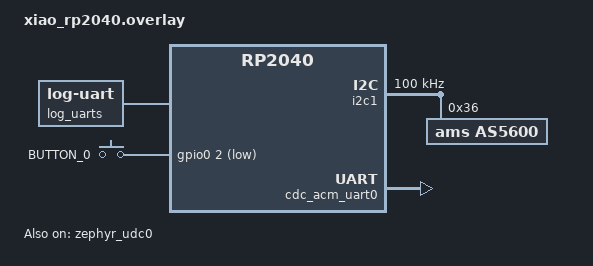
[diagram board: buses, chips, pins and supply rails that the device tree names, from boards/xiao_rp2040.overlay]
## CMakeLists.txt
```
#-------------------------------------------------------------------------------
# Zephyr Example Application
#
# Copyright (c) 2026 not-na
# Copyright (c) 2021 Nordic Semiconductor ASA
# SPDX-License-Identifier: Apache-2.0

cmake_minimum_required(VERSION 3.13.1)
find_package(Zephyr REQUIRED HINTS $ENV{ZEPHYR_BASE})

project(app LANGUAGES C)

target_sources(app PRIVATE src/main.c src/hid.c src/usb.c src/encoder.c)
```

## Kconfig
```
# Copyright (c) 2026 not-na
# Copyright (c) 2021 Nordic Semiconductor ASA
# SPDX-License-Identifier: Apache-2.0
#
# This file is the application Kconfig entry point. All application Kconfig
# options can be defined here or included via other application Kconfig files.
# You can browse these options using the west targets menuconfig (terminal) or
# guiconfig (GUI).

menu "Zephyr"
source "Kconfig.zephyr"
endmenu

module = APP
module-str = APP
source "subsys/logging/Kconfig.template.log_config"


menu "Main application configuration"

config MAGWHEEL_CDC
    bool "Enable CDC ACM debug UART"
    default y
    depends on USB_DEVICE_STACK_NEXT
    select SERIAL
    select USBD_CDC_ACM_CLASS
    select UART_CONSOLE
    select LOG_BACKEND_UART
    select UART_LINE_CTRL
    help
        Enable the USB CDC ACM virtual UART used for the console, shell,
        and UART logging backend.

config USB_VID
    hex "USB Vendor ID"
    default 0x1209
    help
        USB Vendor ID for the device.

config USB_PID
    hex "USB Product ID"
    default 0x0001
    help
        USB Product ID for the device.

config USB_MANUFACTURER
    string "USB Manufacturer"
    default "not-na"
    help
        USB Manufacturer string for the device.

config USB_PRODUCT
    string "USB Product"
    default "MagWheel"
    help
        USB Product string for the device.

config MAGWHEEL_DEADZONE_DEFAULT
    int "MagWheel Deadzone Default"
    default 4
    help
        Default in LSBs for the encoder to prevent jitter when idle.

config MAGWHEEL_STEPS_PER_REV
    int "MagWheel Steps Per Revolution"
    default 3600
    help
        Number of steps per revolution for the encoder.

config MAGWHEEL_HID_RESOLUTION
    int "MagWheel HID Resolution"
    default 60
    help
        Resolution of the HID reports in steps per revolution.

menuconfig MAGWHEEL_SPEEDSCALING
    bool "Enable MagWheel speed-dependent scaling"
    depends on TIMER_HAS_64BIT_CYCLE_COUNTER
    select REQUIRES_FLOAT_PRINTF
    default y
    help
        Enable speed scaling for the MagWheel.

        The highest speed is determined by the normal config.

        Scaling is implemented by adding a multiplier to the steps at high speeds,
        reporting a lower HID resolution normally.

if MAGWHEEL_SPEEDSCALING

config MAGWHEEL_SPEEDSCALING_FACTOR
    int "Factor from highest to lowest speed"
    default 5
    help
        Increases the speed by this factor at high speeds.

config MAGWHEEL_SPEEDSCALING_THRESHOLD_LOW
    int "Low Speed threshold for scaling"
    default 1500
    help
        The speed threshold in steps per second below which to apply the low speed scaling.

config MAGWHEEL_SPEEDSCALING_THRESHOLD_HIGH
    int "High Speed threshold for scaling"
    default 6000
    help
        The speed threshold in steps per second above which to apply the maximum speed.

config MAGWHEEL_SPEEDSCALING_SMOOTHING
    int "Averaging duration for speed measurement in samples"
    default 10
    help
        Speed for scaling is measured as the average speed over this duration. A sample
        is usually taken every 5ms.

endif # MAGWHEEL_SPEEDSCALING

endmenu
```

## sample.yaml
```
# This file is provided so that the application can be compiled using Twister,
# the Zephyr testing tool. In this file, multiple combinations can be specified,
# so that you can easily test all of them locally or in CI.
sample:
  description: "MagWheel"
  name: "magwheel"
common:
  build_only: true
  integration_platforms:
    - nrf52840dongle
tests:
  app.default: {}
  app.debug:
    extra_overlay_confs:
      - debug.conf
```

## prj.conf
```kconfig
# Copyright (c) 2026 not-na
# Copyright (c) 2021 Nordic Semiconductor ASA
# SPDX-License-Identifier: Apache-2.0
#
# This file contains selected Kconfig options for the application.
# See https://docs.zephyrproject.org/latest/kconfig.html for all possible options.

CONFIG_MAGWHEEL_DEADZONE_DEFAULT=2
CONFIG_MAGWHEEL_STEPS_PER_REV=3960
CONFIG_MAGWHEEL_HID_RESOLUTION=80
CONFIG_MAGWHEEL_SPEEDSCALING_FACTOR=12

# Shell & Logging
CONFIG_PRINTK=y
CONFIG_SHELL=y
CONFIG_LOG=y
CONFIG_KERNEL_SHELL=y
CONFIG_DEVICE_SHELL=y
CONFIG_SENSOR_SHELL=y
CONFIG_I2C_SHELL=y

# USB
CONFIG_USB_DEVICE_STACK_NEXT=y
CONFIG_USBD_HID_SUPPORT=y
CONFIG_MAGWHEEL_CDC=y
CONFIG_SERIAL=y
CONFIG_CONSOLE=y
CONFIG_UART_CONSOLE=y
CONFIG_LOG_BACKEND_UART=y
CONFIG_UART_LINE_CTRL=y
CONFIG_USB_VID=0x1209
# Change PID once we have one from pid.codes
CONFIG_USB_PID=0x0001
CONFIG_USB_MANUFACTURER="not-na"
CONFIG_USB_PRODUCT="MagWheel"

# Button Input
CONFIG_GPIO=y
CONFIG_INPUT=y

# Sensor
CONFIG_I2C=y
CONFIG_SENSOR=y
CONFIG_SENSOR_ASYNC_API=y

# Misc
CONFIG_RESET=y
CONFIG_BUILD_OUTPUT_UF2=y

# LED
CONFIG_LED_STRIP=y
CONFIG_PIO_RPI_PICO=y
```

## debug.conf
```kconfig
# Copyright (c) 2026 not-na
# Copyright (c) 2021 Nordic Semiconductor ASA
# SPDX-License-Identifier: Apache-2.0
#
# This is a Kconfig fragment which can be used to enable debug-related options
# in the application. See the README for more details.

# Compiler
CONFIG_DEBUG_OPTIMIZATIONS=y

# Logging
CONFIG_APP_LOG_LEVEL_DBG=y
```

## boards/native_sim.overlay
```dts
/*
 * Copyright (c) 2026 not-na
 * Copyright (c) 2021 Nordic Semiconductor ASA
 * SPDX-License-Identifier: Apache-2.0
 */

/* This devicetree overlay file will be automatically picked by the Zephyr
 * build system when building the sample for the nucleo_f302r8 board. It shows
 * how the example-application can be built on sample boards already provided
 * by Zephyr.
 */

/ {
	// TODO
};
```

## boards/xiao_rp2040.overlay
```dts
/*
 * Copyright (c) 2026 not-na
 * SPDX-License-Identifier: Apache-2.0
 */

#include <zephyr/dt-bindings/pinctrl/rpi-pico-rp2040-pinctrl.h>
#include <zephyr/dt-bindings/input/input-event-codes.h>

/ {
    aliases {
        encoder = &as5600;
        sw0 = &button_0;
        led-strip = &ws2812;
    };

    chosen {
        zephyr,console = &cdc_acm_uart0;
        zephyr,shell-uart = &cdc_acm_uart0;
        zephyr,log-uart = &log_uarts;
    };

    log_uarts: log_uarts {
        compatible = "zephyr,log-uart";
        uarts = <&cdc_acm_uart0>;
    };

    gpio_keys {
        compatible = "gpio-keys";
        status = "okay";

        button_0: button_0 {
            gpios = <&gpio0 2 (GPIO_PULL_UP | GPIO_ACTIVE_LOW)>;
            label = "BUTTON_0";
            zephyr,code = <INPUT_KEY_0>;
        };
    };
};

&i2c1 {
    status = "okay";
    clock-frequency = <I2C_BITRATE_STANDARD>;
    pinctrl-0 = <&i2c1_default>;
    pinctrl-names = "default";

    as5600: as5600@36 {
        compatible = "ams,as5600";
        status = "okay";
        reg = <0x36>;
    };
};

&pio0 {
    status = "okay";

    pio-ws2812 {
        compatible = "worldsemi,ws2812-rpi_pico-pio";
        status = "okay";
        pinctrl-0 = <&ws2812_pio0_default>;
        pinctrl-names = "default";
        bit-waveform = <3>, <3>, <4>;

        ws2812: ws2812 {
            status = "okay";
            gpios = <&gpio0 16 GPIO_ACTIVE_HIGH>;
            chain-length = <1>;
            color-mapping = <LED_COLOR_ID_GREEN
                             LED_COLOR_ID_RED
                             LED_COLOR_ID_BLUE>;
            reset-delay = <280>;
            frequency = <800000>;
        };
    };
};

&zephyr_udc0 {
    status = "okay";

    cdc_acm_uart0: cdc_acm_uart0 {
        compatible = "zephyr,cdc-acm-uart";
        label = "CDC_ACM_0";
    };

    hid_dev_0: hid_dev_0 {
        compatible = "zephyr,hid-device";
        status = "okay";
        label = "HID0";
        in-report-size = <64>;
        in-polling-period-us = <1000>;
    };
};
```

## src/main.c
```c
/*
 * Copyright (c) 2026 not-na
 * Copyright (c) 2021 Nordic Semiconductor ASA
 * SPDX-License-Identifier: Apache-2.0
 */

#include <math.h>
#include <zephyr/kernel.h>
#include <zephyr/logging/log.h>

#include <zephyr/drivers/led_strip.h>
#include <zephyr/drivers/sensor.h>

#include "hid.h"
#include "usb.h"

LOG_MODULE_REGISTER(main, CONFIG_APP_LOG_LEVEL);

#if DT_NODE_HAS_PROP(DT_ALIAS(led_strip), chain_length)
#define STRIP_NUM_PIXELS DT_PROP(DT_ALIAS(led_strip), chain_length)
#else
#error Unable to determine length of LED strip
#endif

static const struct device *led_strip = DEVICE_DT_GET(DT_ALIAS(led_strip));
static const struct device *encoder = DEVICE_DT_GET_ONE(ams_as5600);

static int last_position = 0;

static struct led_rgb ok_led = {.r = 0x00, .g = 0xFF, .b = 0x00};


int main(void)
{
	int ret;

	LOG_INF("MagWheel starting up");

	hid_device_init();
	usb_device_init();

	if (!device_is_ready(encoder)) {
		LOG_ERR("AS5600 not ready");
		return -EIO;
	}

	if (!device_is_ready(led_strip)) {
		LOG_ERR("LED strip not ready");
		return -EIO;
	}

	led_strip_update_rgb(led_strip, &ok_led, STRIP_NUM_PIXELS);

	struct sensor_value val;
#ifdef CONFIG_MAGWHEEL_SPEEDSCALING
	int last_delta[CONFIG_MAGWHEEL_SPEEDSCALING_SMOOTHING] = {0};
	uint64_t last_sample_time[CONFIG_MAGWHEEL_SPEEDSCALING_SMOOTHING] = {0};
#endif

	LOG_INF("Booted!");
	k_msleep(1000);

	while (true) {
		if (!get_hid_ready()) {
			LOG_INF("Waiting for HID to be ready...");
			continue;
		}

		ret = sensor_sample_fetch(encoder);
		if (ret != 0) {
			LOG_ERR("Failed to fetch sensor sample");
			continue;
		}

#ifdef CONFIG_MAGWHEEL_SPEEDSCALING
		uint64_t sample_time = k_cycle_get_64();
#endif

		ret = sensor_channel_get(encoder, SENSOR_CHAN_ROTATION, &val);
		if (ret != 0) {
			LOG_ERR("Failed to get sensor channel rotation");
			continue;
		}

		int rot = (val.val1 * 1000000 + val.val2) / (360 * 1000000 / CONFIG_MAGWHEEL_STEPS_PER_REV);

		LOG_INF_RATELIMIT_RATE(1000, "Rotation %d", rot);

		if (last_position == 0) {
			last_position = rot;
		}

		// How much backwards rotation would it take to get to the new position?
		int delta_rev = 0;
		if (rot > last_position) {
			delta_rev = rot - last_position - CONFIG_MAGWHEEL_STEPS_PER_REV;
		} else if (rot < last_position) {
			delta_rev = CONFIG_MAGWHEEL_STEPS_PER_REV - last_position + rot;
		}

		// How much forwards rotation would it take to get to the new position?
		int delta_fwd = rot - last_position;

		// Use the most likely candidate, whichever is smaller
		int delta = abs(delta_rev) > abs(delta_fwd) ? delta_fwd : delta_rev;

		if (abs(delta) <= CONFIG_MAGWHEEL_DEADZONE_DEFAULT) {
			continue;
		}

#ifdef CONFIG_MAGWHEEL_SPEEDSCALING
		// Calculate the speed since the oldest sample in the smoothing window
		uint64_t time_diff = sample_time - last_sample_time[CONFIG_MAGWHEEL_SPEEDSCALING_SMOOTHING - 1];
		int oldest_delta = 0;
		for (int i = 0; i < CONFIG_MAGWHEEL_SPEEDSCALING_SMOOTHING; i++) {
			oldest_delta += last_delta[i];
		}
		float speed = fabsf((float)oldest_delta / (k_cyc_to_ms_near32(time_diff)/1000.0f)); // steps per second

		// Update the delta and sample time arrays
		for (int i = CONFIG_MAGWHEEL_SPEEDSCALING_SMOOTHING - 1; i > 0; i--) {
			last_delta[i] = last_delta[i - 1];
			last_sample_time[i] = last_sample_time[i - 1];
		}
		last_delta[0] = delta;
		last_sample_time[0] = sample_time;

		// Apply speed scaling
		if (speed > CONFIG_MAGWHEEL_SPEEDSCALING_THRESHOLD_HIGH) {
			delta *= CONFIG_MAGWHEEL_SPEEDSCALING_FACTOR;
		} else if (speed > CONFIG_MAGWHEEL_SPEEDSCALING_THRESHOLD_LOW) {
			// Interpolate between 1 and the scaling factor based on speed
			float t = ((speed-CONFIG_MAGWHEEL_SPEEDSCALING_THRESHOLD_LOW) / (CONFIG_MAGWHEEL_SPEEDSCALING_THRESHOLD_HIGH - CONFIG_MAGWHEEL_SPEEDSCALING_THRESHOLD_LOW));
			t = t*t; // Quad easing
			float scale = t
						* (CONFIG_MAGWHEEL_SPEEDSCALING_FACTOR - 1) + 1;
			delta *= scale;
			LOG_INF_RATELIMIT_RATE(1000, "Speed %d steps/s, scale %d (/10)", (int)speed, (int)(scale*10));
		}

		LOG_INF_RATELIMIT_RATE(1000, "Delta %d, speed %d steps/s", delta, (int)speed);
#else
		LOG_INF_RATELIMIT_RATE(1000, "Delta %d", delta);
#endif

		hid_device_send_wheel_report(delta);

		// Only update last pos if we sent a report
		last_position = rot;

		k_msleep(1);
	}

	return 0;
}
```

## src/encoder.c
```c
//
// Created by notna on 02.11.26.
//

#include "encoder.h"
```

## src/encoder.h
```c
//
// Created by notna on 02.11.26.
//

#ifndef APP_ENCODER_H
#define APP_ENCODER_H

#endif //APP_ENCODER_H
```

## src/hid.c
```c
#include "hid.h"

#include <zephyr/logging/log.h>
#include <zephyr/usb/class/usbd_hid.h>
#include <zephyr/usb/usbd.h>

LOG_MODULE_REGISTER(hid);

UDC_STATIC_BUF_DEFINE(wheel_report_buf, sizeof(wheel_report_t));
UDC_STATIC_BUF_DEFINE(dial_report_buf, sizeof(dial_report_t));

static const struct device *hid_dev = DEVICE_DT_GET_ONE(zephyr_hid_device);

static feature_report_t mult_state = {
    .report_id = REPORT_ID_MULTIPLIER, .wheel = 0, .ac_pan = 0, .reserved = 0};

static bool hid_ready = false;

static void iface_ready(const struct device *dev, const bool ready) {
  LOG_INF("HID device %s interface is %s", dev->name,
          ready ? "ready" : "not ready");
  hid_ready = ready;
}

static int get_report(const struct device *dev, const uint8_t type,
                      const uint8_t id, const uint16_t len,
                      uint8_t *const buf) {
  if (type != HID_REPORT_TYPE_FEATURE) {
    LOG_WRN("Unsupported report type");
    return -ENOTSUP;
  }

  if (id != REPORT_ID_MULTIPLIER) {
    LOG_WRN("Unsupported report id");
    return -ENOTSUP;
  }

  memcpy(buf, &mult_state, sizeof(mult_state));

  return sizeof(mult_state);
}

static int verify_set_report(const struct device *dev, const uint8_t type,
                             const uint8_t id, const uint16_t len) {
  if (type != HID_REPORT_TYPE_FEATURE) {
    LOG_WRN("Unsupported report type");
    return -ENOTSUP;
  }

  if (id != REPORT_ID_MULTIPLIER) {
    LOG_WRN("Unsupported report id");
    return -ENOTSUP;
  }

  return 0;
}

static int set_report(const struct device *dev, const uint8_t type,
                      const uint8_t id, const uint16_t len,
                      const uint8_t *const buf) {

  if (type != HID_REPORT_TYPE_FEATURE) {
    LOG_WRN("Unsupported report type");
    return -ENOTSUP;
  }

  if (id != REPORT_ID_MULTIPLIER) {
    LOG_WRN("Unsupported report id");
    return -ENOTSUP;
  }

  memcpy(&mult_state, buf, sizeof(mult_state));
  mult_state.report_id = REPORT_ID_MULTIPLIER;
  mult_state.reserved = 0;

  return 0;
}

void hid_set_idle(const struct device *dev, const uint8_t id, const uint32_t duration) {
  // TODO: does this need to be handled?
}

struct hid_device_ops device_ops = {
    .iface_ready = iface_ready,
    .get_report = get_report,
    .verify_set_report = verify_set_report,
    .set_report = set_report,
    .set_idle = hid_set_idle,
};

int hid_device_init(void) {
  if (!device_is_ready(hid_dev)) {
    LOG_ERR("HID Device is not ready");
    return -EIO;
  }

  int err = hid_device_register(hid_dev, hid_report_desc,
                                sizeof(hid_report_desc), &device_ops);
  if (err) {
    LOG_ERR("Failed to register HID Device, %d", err);
    return err;
  }

  return 0;
}

bool get_hid_ready(){
    return hid_ready;
}

int hid_device_send_wheel_report(int value) {
  wheel_report_t *report = (wheel_report_t *)wheel_report_buf;

  report->report_id = REPORT_ID_MOUSE;
  report->buttons = 0;
  report->x_axis = 0;
  report->y_axis = 0;
  report->wheel = value;
  report->ac_pan = 0;

  return hid_device_submit_report(hid_dev, sizeof(wheel_report_t),
                                  wheel_report_buf);
}

int hid_device_send_dial_report(int rotation, bool button_state) {
  dial_report_t *report = (dial_report_t *)dial_report_buf;

  report->report_id = REPORT_ID_DIAL;
  report->button = button_state & 0x01;
  report->rotation = rotation & 0x7FFF;

  return hid_device_submit_report(hid_dev, sizeof(dial_report_t),
                                  dial_report_buf);
}
```

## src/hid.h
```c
#pragma once

#include <stdint.h>
#include <stdbool.h>

#include "zephyr/kernel.h"

#define REPORT_ID_DIAL 0x01
#define REPORT_ID_MOUSE 0x02
#define REPORT_ID_MULTIPLIER 0x03

#define RESOLUTION_MULTIPLIER CONFIG_MAGWHEEL_HID_RESOLUTION

static const uint8_t hid_report_desc[] = {
    0x05, 0x01,                 // USAGE_PAGE (Generic Desktop)
    0x09, 0x0e,                 // USAGE (System Multi-Axis Controller)
    0xa1, 0x01,                 // COLLECTION (Application)
    0x85, REPORT_ID_DIAL,       //   REPORT_ID (Radial Controller)
    0x05, 0x0d,                 //   USAGE_PAGE (Digitizers)
    0x09, 0x21,                 //   USAGE (Puck)
    0xa1, 0x00,                 //   COLLECTION (Physical)
    0x05, 0x09,                 //     USAGE_PAGE (Buttons)
    0x09, 0x01,                 //     USAGE (Button 1)
    0x95, 0x01,                 //     REPORT_COUNT (1)
    0x75, 0x01,                 //     REPORT_SIZE (1)
    0x15, 0x00,                 //     LOGICAL_MINIMUM (0)
    0x25, 0x01,                 //     LOGICAL_MAXIMUM (1)
    0x81, 0x02,                 //     INPUT (Data,Var,Abs)
    0x05, 0x01,                 //     USAGE_PAGE (Generic Desktop)
    0x09, 0x37,                 //     USAGE (Dial)
    0x95, 0x01,                 //     REPORT_COUNT (1)
    0x75, 0x0f,                 //     REPORT_SIZE (15)
    0x55, 0x0f,                 //     UNIT_EXPONENT (-1)
    0x65, 0x14,                 //     UNIT (Degrees, English Rotation)
    0x36, 0xf0, 0xf1,           //     PHYSICAL_MINIMUM (-3600)
    0x46, 0x10, 0x0e,           //     PHYSICAL_MAXIMUM (3600)
    0x16, 0xf0, 0xf1,           //     LOGICAL_MINIMUM (-3600)
    0x26, 0x10, 0x0e,           //     LOGICAL_MAXIMUM (3600)
    0x81, 0x06,                 //     INPUT (Data,Var,Rel)
    0xc0,                       //   END_COLLECTION
    0xc0,                       // END_COLLECTION

    // Reset globals
    0x55, 0x00,                   // UNIT_EXPONENT (0)
    0x65, 0x00,                   // UNIT (None)
    0x35, 0x00,                   // PHYSICAL_MINIMUM (0)
    0x45, 0x00,                   // PHYSICAL_MAXIMUM (0)

    0x05, 0x01,                   // Usage Page (Generic Desktop Ctrls)
    0x09, 0x02,                   // Usage (Mouse)
    0xA1, 0x01,                   // Collection (Application)
    0x05, 0x01,                   //   Usage Page (Generic Desktop Ctrls)
    0x09, 0x02,                   //   Usage (Mouse)
    0xA1, 0x02,                   //   Collection (Logical)
    0x85, REPORT_ID_MOUSE,        //     Report ID (REPORT_ID_MOUSE)
    0x09, 0x01,                   //     Usage (Pointer)
    0xA1, 0x00,                   //     Collection (Physical)
    0x05, 0x09,                   //       Usage Page (Button)
    0x19, 0x01,                   //       Usage Minimum (0x01)
    0x29, 0x08,                   //       Usage Maximum (0x08)
    0x95, 0x08,                   //       Report Count (8)
    0x75, 0x01,                   //       Report Size (1)
    0x15, 0x00,                   //       Logical Minimum (0)
    0x25, 0x01,                   //       Logical Maximum (1)
    0x81, 0x02,                   //       Input (Data,Var,Abs,No Wrap,Linear,Preferred State,No Null Position)
    0x05, 0x01,                   //       Usage Page (Generic Desktop Ctrls)
    0x09, 0x30,                   //       Usage (X)
    0x09, 0x31,                   //       Usage (Y)
    0x95, 0x02,                   //       Report Count (2)
    0x75, 0x10,                   //       Report Size (16)
    0x16, 0x00, 0x80,             //       Logical Minimum (-32768)
    0x26, 0xFF, 0x7F,             //       Logical Maximum (32767)
    0x81, 0x06,                   //       Input (Data,Var,Rel,No Wrap,Linear,Preferred State,No Null Position)
    0xA1, 0x02,                   //       Collection (Logical)
    0x85, REPORT_ID_MULTIPLIER,   //         Report ID (REPORT_ID_MULTIPLIER)
    0x09, 0x48,                   //         Usage (Resolution Multiplier)
    0x95, 0x01,                   //         Report Count (1)
    0x75, 0x02,                   //         Report Size (2)
    0x15, 0x00,                   //         Logical Minimum (0)
    0x25, 0x01,                   //         Logical Maximum (1)
    0x35, 0x01,                   //         Physical Minimum (1)
    0x45, RESOLUTION_MULTIPLIER,  //         Physical Maximum (RESOLUTION_MULTIPLIER)
    0xB1, 0x02,                   //         Feature (Data,Var,Abs,No Wrap,Linear,Preferred State,No Null Position,Non-volatile)
    0x85, REPORT_ID_MOUSE,        //         Report ID (REPORT_ID_MOUSE)
    0x09, 0x38,                   //         Usage (Wheel)
    0x35, 0x00,                   //         Physical Minimum (0)
    0x45, 0x00,                   //         Physical Maximum (0)
    0x16, 0x00, 0x80,             //         Logical Minimum (-32768)
    0x26, 0xFF, 0x7F,             //         Logical Maximum (32767)
    0x75, 0x10,                   //         Report Size (16)
    0x81, 0x06,                   //         Input (Data,Var,Rel,No Wrap,Linear,Preferred State,No Null Position)
    0xC0,                         //       End Collection
    0xA1, 0x02,                   //       Collection (Logical)
    0x85, REPORT_ID_MULTIPLIER,   //         Report ID (REPORT_ID_MULTIPLIER)
    0x09, 0x48,                   //         Usage (Resolution Multiplier)
    0x75, 0x02,                   //         Report Size (2)
    0x15, 0x00,                   //         Logical Minimum (0)
    0x25, 0x01,                   //         Logical Maximum (1)
    0x35, 0x01,                   //         Physical Minimum (1)
    0x45, RESOLUTION_MULTIPLIER,  //         Physical Maximum (RESOLUTION_MULTIPLIER)
    0xB1, 0x02,                   //         Feature (Data,Var,Abs,No Wrap,Linear,Preferred State,No Null Position,Non-volatile)
    0x35, 0x00,                   //         Physical Minimum (0)
    0x45, 0x00,                   //         Physical Maximum (0)
    0x75, 0x04,                   //         Report Size (4)
    0xB1, 0x03,                   //         Feature (Const,Var,Abs,No Wrap,Linear,Preferred State,No Null Position,Non-volatile)
    0x85, REPORT_ID_MOUSE,        //         Report ID (REPORT_ID_MOUSE)
    0x05, 0x0C,                   //         Usage Page (Consumer)
    0x16, 0x00, 0x80,             //         Logical Minimum (-32768)
    0x26, 0xFF, 0x7F,             //         Logical Maximum (32767)
    0x75, 0x10,                   //         Report Size (16)
    0x0A, 0x38, 0x02,             //         Usage (AC Pan)
    0x81, 0x06,                   //         Input (Data,Var,Rel,No Wrap,Linear,Preferred State,No Null Position)
    0xC0,                         //       End Collection
    0xC0,                         //     End Collection
    0xC0,                         //   End Collection
    0xC0,                         // End Collection
};

typedef struct __attribute__((packed)) {
  uint8_t report_id : 8;
  uint16_t button : 1;
  int16_t rotation : 15;
} dial_report_t;

typedef struct __attribute__((packed)) {
  uint8_t report_id;
  uint8_t buttons;
  int16_t x_axis;
  int16_t y_axis;
  int16_t wheel;
  int16_t ac_pan;
} wheel_report_t;

typedef struct __attribute__((packed)) {
  uint8_t report_id : 8;
  uint8_t wheel : 2;
  uint8_t ac_pan : 2;
  uint8_t reserved : 4;
} feature_report_t;

int hid_device_init(void);
bool get_hid_ready(void);
int hid_device_send_wheel_report(int value);
int hid_device_send_dial_report(int rotation, bool button_state);
```

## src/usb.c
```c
#include "usb.h"
#include <zephyr/usb/usbd.h>

#include <zephyr/logging/log.h>
LOG_MODULE_REGISTER(usb_device);

USBD_DEVICE_DEFINE(usb_device,
                   DEVICE_DT_GET(DT_NODELABEL(zephyr_udc0)),
                   CONFIG_USB_VID, CONFIG_USB_PID);

// These fields are optional
USBD_DESC_LANG_DEFINE(language); // Will be set to English (United States)
USBD_DESC_MANUFACTURER_DEFINE(manufacturer, CONFIG_USB_MANUFACTURER);
USBD_DESC_PRODUCT_DEFINE(product, CONFIG_USB_PRODUCT);

// We need to define a configuration for each supported speed. For simplicity we will not do high speed. Only full speed.
static const uint8_t attributes = 0;

#define EXAMPLE_MAX_POWER 125 // In 2mA units so its 250mA
USBD_DESC_CONFIG_DEFINE(fs_cfg_desc, "Full Speed Configuration");
USBD_CONFIGURATION_DEFINE(example_fs_config, attributes, EXAMPLE_MAX_POWER, &fs_cfg_desc);

int usb_device_init(void) {
    int err;

    err = usbd_add_descriptor(&usb_device, &language);
    if (err) {
        LOG_ERR("Failed to add language descriptor %d", err);
        return err;
    }

    err = usbd_add_descriptor(&usb_device, &manufacturer);
    if (err) {
        LOG_ERR("Failed to add manufacturer descriptor %d", err);
        return err;
    }

    err = usbd_add_descriptor(&usb_device, &product);
    if (err) {
        LOG_ERR("Failed to add product descriptor %d", err);
        return err;
    }

    //
    // Adding configuration for full speed
    //
    err = usbd_add_configuration(&usb_device, USBD_SPEED_FS, &example_fs_config);
    if (err) {
        LOG_ERR("Failed to add Full-Speed configuration");
        return err;
    }

    err = usbd_register_all_classes(&usb_device, USBD_SPEED_FS, 1, NULL);
    if (err) {
        LOG_ERR("Failed to add register class");
        return err;
    }

    /*
     * The device descriptor has three fields for identifying device class
     * bDeviceClass, bDeviceSubClass, bDeviceProtocol
     *
     * If the device provides multiple USB functions (a composite device)
     * it should use the Miscellaneous Device Class to indicate that the host
     * should look at the interface descriptors to determine the device class.
     *
     * If it's a single-function device like HID, these fields can be set to 0
     */
    if (IS_ENABLED(CONFIG_USBD_CDC_ACM_CLASS) ||
        IS_ENABLED(CONFIG_USBD_CDC_ECM_CLASS) ||
        IS_ENABLED(CONFIG_USBD_CDC_NCM_CLASS) ||
        IS_ENABLED(CONFIG_USBD_MIDI2_CLASS) ||
        IS_ENABLED(CONFIG_USBD_AUDIO2_CLASS) ||
        IS_ENABLED(CONFIG_USBD_VIDEO_CLASS)) {

        usbd_device_set_code_triple(&usb_device, USBD_SPEED_FS, USB_BCC_MISCELLANEOUS, 0x02, 0x01);
    } else {
        usbd_device_set_code_triple(&usb_device, USBD_SPEED_FS, 0, 0, 0);
    }

    // Here we could add a callback for handling device state changes
    // This is used for things like sleep and wake up
    // usbd_msg_register_cb(&example_usbd, example_usbd_msg_cb);

    //
    // Initializing the USB device
    //
    err = usbd_init(&usb_device);
    if (err) {
        LOG_ERR("Failed to initialize device %d", err);
        return err;
    }

    // For self powered devices we would only want to enable it if it's plugged in
    if (!usbd_can_detect_vbus(&usb_device)) {
        err = usbd_enable(&usb_device);
    }

    return 0;
}
```

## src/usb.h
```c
#pragma once

int usb_device_init(void);
```
